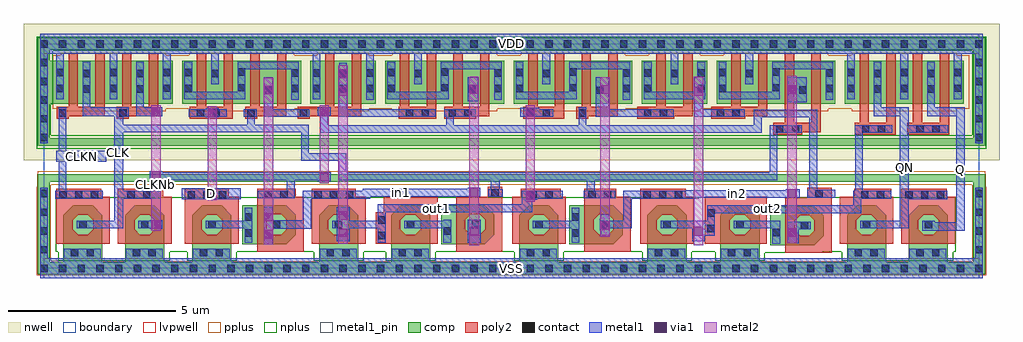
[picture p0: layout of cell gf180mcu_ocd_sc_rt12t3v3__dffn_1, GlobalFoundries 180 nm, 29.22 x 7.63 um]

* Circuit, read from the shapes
.subckt gf180mcu_ocd_sc_rt12t3v3__dffn_1 CLK CLKN CLKNb D Q QN VDD VSS in1 in2 out1 out2
XM1 CLK CLKN VSS VSS nfet_03v3 w=1.785u l=0.5338u
XM2 CLKNb CLK VSS VSS nfet_03v3 w=1.785u l=0.5341u
XM3 n1 D VSS VSS nfet_03v3 w=1.785u l=0.534u
XM4 in1 CLKNb n1 VSS nfet_03v3 w=1.785u l=0.5324u
XM5 out1 in1 VSS VSS nfet_03v3 w=1.785u l=0.5329u
XM6 n2 out1 VSS VSS nfet_03v3 w=1.785u l=0.5305u
XM7 in1 CLK n2 VSS nfet_03v3 w=1.785u l=0.5297u
XM8 n3 out1 VSS VSS nfet_03v3 w=1.785u l=0.5371u
XM9 in2 CLK n3 VSS nfet_03v3 w=1.785u l=0.5341u
XM10 out2 in2 VSS VSS nfet_03v3 w=1.785u l=0.5331u
XM11 n4 out2 VSS VSS nfet_03v3 w=1.785u l=0.5301u
XM12 in2 CLKNb n4 VSS nfet_03v3 w=1.785u l=0.5335u
XM13 QN out2 VSS VSS nfet_03v3 w=1.785u l=0.5348u
XM14 Q QN VSS VSS nfet_03v3 w=1.785u l=0.532u
XM15 CLK CLKN VDD VDD pfet_03v3 w=1.285u l=0.28u m=2
XM16 CLKNb CLK VDD VDD pfet_03v3 w=1.285u l=0.28u m=2
XM17 VDD D n5 VDD pfet_03v3 w=1.285u l=0.28u m=2
XM18 in1 CLK n5 VDD pfet_03v3 w=1.285u l=0.28u m=2
XM19 out1 in1 VDD VDD pfet_03v3 w=1.285u l=0.28u m=2
XM20 VDD out1 n6 VDD pfet_03v3 w=1.285u l=0.28u m=2
XM21 in1 CLKNb n6 VDD pfet_03v3 w=1.285u l=0.28u m=2
XM22 VDD out1 n7 VDD pfet_03v3 w=1.285u l=0.28u m=2
XM23 in2 CLKNb n7 VDD pfet_03v3 w=1.285u l=0.28u m=2
XM24 VDD in2 out2 VDD pfet_03v3 w=1.285u l=0.28u m=2
XM25 VDD out2 n8 VDD pfet_03v3 w=1.285u l=0.28u m=2
XM26 in2 CLK n8 VDD pfet_03v3 w=1.285u l=0.28u m=2
XM27 QN out2 VDD VDD pfet_03v3 w=1.285u l=0.28u m=2
XM28 Q QN VDD VDD pfet_03v3 w=1.285u l=0.28u m=2
.ends

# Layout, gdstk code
import gdstk
lib = gdstk.Library(unit=1e-6, precision=1e-09)
def R(c, l, rs):  # rectangles x0, y0, x1, y1
    for r in rs: c.add(gdstk.rectangle(r[:2], r[2:], *l))
def A(c, l, x, y, w, h, nx, ny, dx, dy):  # array of equal rectangles
    R(c, l, [(x+i*dx, y+j*dy, x+i*dx+w, y+j*dy+h) for i in range(nx) for j in range(ny)])
def P(c, l, *ps):  # polygons
    for p in ps: c.add(gdstk.Polygon(p, *l))
boundary = (0, 0)
nwell = (21, 0)
comp = (22, 0)
poly2 = (30, 0)
pplus = (31, 0)
nplus = (32, 0)
contact = (33, 0)
metal1 = (34, 0)
metal1_pin = (34, 10)
via1 = (35, 0)
metal2 = (36, 0)
lvpwell = (204, 0)

gf180mcu_ocd_sc_rt12t3v3 = lib.new_cell('gf180mcu_ocd_sc_rt12t3v3__dffn_1')
R(gf180mcu_ocd_sc_rt12t3v3, boundary, [(0,0,28,6.72)])
R(gf180mcu_ocd_sc_rt12t3v3, nwell, [(-0.61,3.245,28.61,7.33)])
R(gf180mcu_ocd_sc_rt12t3v3, comp, [(-0.18,-0.18,28.18,0.18), (-0.18,0.18,0.18,2.595), (0.585,0.18,1.755,1.595), (2.435,0.18,3.605,1.595), (4.445,0.18,5.615,1.595), (8.24,0.18,9.41,1.595), (10.395,0.18,11.565,1.595), (14.235,0.18,15.405,1.595), (18.07,0.18,19.24,1.595), (20.255,0.18,21.425,1.595), (24.045,0.18,25.215,1.595), (25.895,0.18,27.065,1.595), (27.82,0.18,28.18,2.595), (21.745,0.695,23.06,0.985), (5.945,0.725,7.25,1.015), (11.895,0.725,13.2,1.015), (15.735,0.725,17.04,1.015), (21.745,0.985,23.35,1.575), (5.945,1.015,7.54,1.605), (11.895,1.015,13.49,1.605), (15.735,1.015,17.33,1.605), (21.745,1.575,23.06,1.865), (0.875,1.595,1.465,1.885), (2.725,1.595,3.315,1.885), (4.735,1.595,5.325,1.885), (8.53,1.595,9.175,1.83), (10.63,1.595,11.275,1.83), (14.525,1.595,15.115,1.885), (18.36,1.595,19.005,1.83), (20.49,1.595,21.135,1.83), (24.315,1.595,24.925,1.865), (26.185,1.595,26.775,1.885), (5.945,1.605,7.25,1.895), (11.895,1.605,13.2,1.895), (15.735,1.605,17.04,1.895), (8.53,1.83,9.12,1.885), (10.685,1.83,11.275,1.885), (18.36,1.83,18.95,1.885), (20.545,1.83,21.135,1.885), (24.335,1.865,24.925,1.885), (-0.18,2.595,28.18,2.815), (-0.18,3.675,28.18,3.895), (-0.18,3.895,0.18,4.935), (27.82,3.895,28.18,6.54), (-0.18,4.935,3.86,6.22), (4.14,4.935,7.7,6.22), (7.98,4.935,9.94,6.22), (10.22,4.935,13.78,6.22), (14.06,4.935,17.62,6.22), (17.9,4.935,19.86,6.22), (20.14,4.935,23.7,6.22), (23.98,4.935,27.54,6.22), (-0.18,6.22,0.18,6.54), (-0.18,6.54,28.18,6.9)])
P(gf180mcu_ocd_sc_rt12t3v3, comp, [(0.585,1.595),(0.875,1.595),(0.875,1.885)],
  [(1.465,1.885),(1.465,1.595),(1.755,1.595)],
  [(2.435,1.595),(2.725,1.595),(2.725,1.885)],
  [(3.315,1.885),(3.315,1.595),(3.605,1.595)],
  [(4.445,1.595),(4.735,1.595),(4.735,1.885)],
  [(5.325,1.885),(5.325,1.595),(5.615,1.595)],
  [(7.25,1.895),(7.25,1.605),(7.54,1.605)],
  [(7.25,0.725),(7.25,1.015),(7.54,1.015)],
  [(8.24,1.595),(8.53,1.595),(8.53,1.885)],
  [(9.12,1.885),(9.12,1.83),(9.175,1.83)],
  [(10.63,1.83),(10.685,1.83),(10.685,1.885)],
  [(9.175,1.83),(9.175,1.595),(9.41,1.595)],
  [(10.395,1.595),(10.63,1.595),(10.63,1.83)],
  [(11.275,1.885),(11.275,1.595),(11.565,1.595)],
  [(13.2,1.895),(13.2,1.605),(13.49,1.605)],
  [(13.2,0.725),(13.2,1.015),(13.49,1.015)],
  [(14.235,1.595),(14.525,1.595),(14.525,1.885)],
  [(15.115,1.885),(15.115,1.595),(15.405,1.595)],
  [(17.04,1.895),(17.04,1.605),(17.33,1.605)],
  [(17.04,0.725),(17.04,1.015),(17.33,1.015)],
  [(18.07,1.595),(18.36,1.595),(18.36,1.885)],
  [(18.95,1.885),(18.95,1.83),(19.005,1.83)],
  [(20.49,1.83),(20.545,1.83),(20.545,1.885)],
  [(19.005,1.83),(19.005,1.595),(19.24,1.595)],
  [(20.255,1.595),(20.49,1.595),(20.49,1.83)],
  [(21.135,1.885),(21.135,1.595),(21.425,1.595)],
  [(24.315,1.865),(24.335,1.865),(24.335,1.885)],
  [(23.06,1.865),(23.06,1.575),(23.35,1.575)],
  [(23.06,0.695),(23.06,0.985),(23.35,0.985)],
  [(24.045,1.595),(24.315,1.595),(24.315,1.865)],
  [(24.925,1.885),(24.925,1.595),(25.215,1.595)],
  [(25.895,1.595),(26.185,1.595),(26.185,1.885)],
  [(26.775,1.885),(26.775,1.595),(27.065,1.595)])
A(gf180mcu_ocd_sc_rt12t3v3, poly2, 24.42, 4.355, 0.28, 2.085, 4, 1, 0.8, 0)
A(gf180mcu_ocd_sc_rt12t3v3, poly2, 0.74, 4.835, 0.28, 1.605, 4, 1, 0.8, 0)
A(gf180mcu_ocd_sc_rt12t3v3, poly2, 4.58, 4.835, 0.28, 1.605, 4, 1, 0.8, 0)
A(gf180mcu_ocd_sc_rt12t3v3, poly2, 10.66, 4.835, 0.28, 1.605, 4, 1, 0.8, 0)
A(gf180mcu_ocd_sc_rt12t3v3, poly2, 14.5, 4.835, 0.28, 1.605, 4, 1, 0.8, 0)
R(gf180mcu_ocd_sc_rt12t3v3, poly2, [(22.2,0.475,23.585,0.975), (6.39,0.505,7.775,1.005), (12.34,0.505,13.725,1.005), (16.18,0.505,17.565,1.005), (0.365,0.735,1.975,1.015), (2.215,0.735,3.825,1.015), (4.225,0.735,5.835,1.015), (8.02,0.735,9.63,1.015), (9.935,0.735,11.785,1.015), (14.015,0.735,15.625,1.015), (17.85,0.735,19.46,1.015), (19.79,0.735,21.645,1.015), (23.825,0.735,25.435,1.015), (25.675,0.735,27.285,1.015), (22.2,0.975,22.48,1.585), (23.06,0.975,23.585,1.125), (6.39,1.005,6.67,1.615), (7.25,1.005,7.775,1.155), (12.34,1.005,12.62,1.615), (13.2,1.005,13.725,1.155), (16.18,1.005,16.46,1.615), (17.04,1.005,17.565,1.155), (0.365,1.015,0.865,1.595), (1.475,1.015,1.975,1.595), (2.215,1.015,2.715,1.595), (3.325,1.015,3.825,1.595), (4.225,1.015,4.725,1.595), (5.335,1.015,5.835,1.595), (8.02,1.015,8.52,1.595), (9.13,1.015,9.63,1.595), (9.935,1.015,10.675,1.595), (11.285,1.015,11.785,1.595), (14.015,1.015,14.515,1.595), (15.125,1.015,15.625,1.595), (17.85,1.015,18.35,1.595), (18.96,1.015,19.46,1.595), (19.79,1.015,20.535,1.595), (21.145,1.015,21.645,1.595), (23.825,1.015,24.325,1.595), (24.935,1.015,25.435,1.595), (25.675,1.015,26.175,1.595), (26.785,1.015,27.285,1.595), (23.07,1.125,23.585,1.435), (7.26,1.155,7.775,1.465), (13.21,1.155,13.725,1.465), (17.05,1.155,17.565,1.465), (23.06,1.435,23.585,1.585), (7.25,1.465,7.775,1.615), (13.2,1.465,13.725,1.615), (17.04,1.465,17.565,1.615), (22.2,1.585,23.585,2.115), (0.365,1.595,1.015,1.605), (1.325,1.595,1.975,1.605), (2.215,1.595,2.865,1.605), (3.175,1.595,3.825,1.605), (4.225,1.595,4.875,1.605), (5.185,1.595,5.835,1.605), (8.02,1.595,8.67,1.605), (8.98,1.595,9.63,1.605), (9.935,1.595,10.825,1.605), (11.135,1.595,11.785,1.605), (14.015,1.595,14.665,1.605), (14.975,1.595,15.625,1.605), (17.85,1.595,18.5,1.605), (18.81,1.595,19.46,1.605), (19.79,1.595,20.685,1.605), (20.995,1.595,21.645,1.605), (23.825,1.595,24.475,1.605), (24.785,1.595,25.435,1.605), (25.675,1.595,26.325,1.605), (26.635,1.595,27.285,1.605), (0.365,1.605,1.975,2.14), (2.215,1.605,3.825,2.14), (4.225,1.605,5.835,2.14), (8.02,1.605,9.63,2.14), (9.935,1.605,11.785,1.675), (14.015,1.605,15.625,2.14), (17.85,1.605,19.46,2.14), (19.79,1.605,21.645,2.14), (23.825,1.605,25.435,2.14), (25.675,1.605,27.285,2.14), (6.39,1.615,7.775,2.15), (12.34,1.615,13.725,2.15), (16.18,1.615,17.565,2.15), (10.175,1.675,11.785,2.14), (22.86,2.115,23.585,2.415), (0.365,2.14,1.725,2.385), (2.215,2.14,3.575,2.385), (4.225,2.14,5.535,2.385), (8.02,2.14,9.33,2.385), (14.27,2.14,15.475,2.385), (17.85,2.14,19.21,2.385), (24.255,2.14,25.365,2.385), (25.675,2.14,27.035,2.385), (6.39,2.15,7.545,2.39), (13.285,2.15,13.725,2.445), (16.18,2.15,17.135,2.39), (21.83,3.995,22.7,4.075), (24.27,3.995,25.5,4.355), (25.85,3.995,27.1,4.355), (21.83,4.075,23.26,4.355), (22.18,4.355,22.46,6.44), (22.98,4.355,23.26,6.44), (0.38,4.475,0.74,4.555), (2.185,4.475,2.545,4.555), (4.365,4.475,5.66,4.835), (6.025,4.475,6.385,4.555), (7.595,4.475,7.955,4.555), (10.63,4.475,11.74,4.835), (11.98,4.475,12.94,4.555), (14.355,4.475,15.58,4.835), (15.945,4.475,16.305,4.555), (17.76,4.475,18.87,4.555), (19.985,4.475,20.995,4.555), (0.38,4.555,1.82,4.835), (2.185,4.555,3.42,4.835), (6.025,4.555,7.26,4.835), (7.595,4.555,9.5,4.835), (11.98,4.555,13.34,4.835), (15.945,4.555,17.18,4.835), (17.76,4.555,19.42,4.835), (19.985,4.555,21.66,4.835), (8.42,4.835,8.7,6.44), (9.22,4.835,9.5,6.44), (18.34,4.835,18.62,6.44), (19.14,4.835,19.42,6.44), (20.58,4.835,20.86,6.44), (21.38,4.835,21.66,6.44)])
P(gf180mcu_ocd_sc_rt12t3v3, poly2, [(1.015,1.595),(1.015,1.605),(1.025,1.605)],
  [(1.315,1.605),(1.325,1.605),(1.325,1.595)],
  [(0.865,1.445),(0.865,1.595),(1.015,1.595)],
  [(1.325,1.595),(1.475,1.595),(1.475,1.445)],
  [(0.865,1.175),(0.865,1.015),(1.025,1.015)],
  [(1.315,1.015),(1.475,1.015),(1.475,1.175)],
  [(2.865,1.595),(2.865,1.605),(2.875,1.605)],
  [(3.165,1.605),(3.175,1.605),(3.175,1.595)],
  [(2.715,1.445),(2.715,1.595),(2.865,1.595)],
  [(3.175,1.595),(3.325,1.595),(3.325,1.445)],
  [(2.715,1.175),(2.715,1.015),(2.875,1.015)],
  [(3.165,1.015),(3.325,1.015),(3.325,1.175)],
  [(4.875,1.595),(4.875,1.605),(4.885,1.605)],
  [(5.175,1.605),(5.185,1.605),(5.185,1.595)],
  [(4.725,1.445),(4.725,1.595),(4.875,1.595)],
  [(5.185,1.595),(5.335,1.595),(5.335,1.445)],
  [(4.725,1.175),(4.725,1.015),(4.885,1.015)],
  [(5.175,1.015),(5.335,1.015),(5.335,1.175)],
  [(6.67,1.455),(6.67,1.615),(6.83,1.615)],
  [(7.1,1.615),(7.25,1.615),(7.25,1.465)],
  [(7.25,1.465),(7.26,1.465),(7.26,1.455)],
  [(6.67,1.165),(6.67,1.005),(6.83,1.005)],
  [(7.25,1.155),(7.26,1.155),(7.26,1.165)],
  [(7.1,1.005),(7.25,1.005),(7.25,1.155)],
  [(8.67,1.595),(8.67,1.605),(8.68,1.605)],
  [(8.97,1.605),(8.98,1.605),(8.98,1.595)],
  [(8.52,1.445),(8.52,1.595),(8.67,1.595)],
  [(8.98,1.595),(9.13,1.595),(9.13,1.445)],
  [(8.52,1.175),(8.52,1.015),(8.68,1.015)],
  [(8.97,1.015),(9.13,1.015),(9.13,1.175)],
  [(10.825,1.595),(10.825,1.605),(10.835,1.605)],
  [(11.125,1.605),(11.135,1.605),(11.135,1.595)],
  [(10.675,1.445),(10.675,1.595),(10.825,1.595)],
  [(11.135,1.595),(11.285,1.595),(11.285,1.445)],
  [(10.675,1.175),(10.675,1.015),(10.835,1.015)],
  [(11.125,1.015),(11.285,1.015),(11.285,1.175)],
  [(12.62,1.455),(12.62,1.615),(12.78,1.615)],
  [(13.05,1.615),(13.2,1.615),(13.2,1.465)],
  [(13.2,1.465),(13.21,1.465),(13.21,1.455)],
  [(12.62,1.165),(12.62,1.005),(12.78,1.005)],
  [(13.2,1.155),(13.21,1.155),(13.21,1.165)],
  [(13.05,1.005),(13.2,1.005),(13.2,1.155)],
  [(14.665,1.595),(14.665,1.605),(14.675,1.605)],
  [(14.965,1.605),(14.975,1.605),(14.975,1.595)],
  [(14.515,1.445),(14.515,1.595),(14.665,1.595)],
  [(14.975,1.595),(15.125,1.595),(15.125,1.445)],
  [(14.515,1.175),(14.515,1.015),(14.675,1.015)],
  [(14.965,1.015),(15.125,1.015),(15.125,1.175)],
  [(16.46,1.455),(16.46,1.615),(16.62,1.615)],
  [(16.89,1.615),(17.04,1.615),(17.04,1.465)],
  [(17.04,1.465),(17.05,1.465),(17.05,1.455)],
  [(16.46,1.165),(16.46,1.005),(16.62,1.005)],
  [(17.04,1.155),(17.05,1.155),(17.05,1.165)],
  [(16.89,1.005),(17.04,1.005),(17.04,1.155)],
  [(18.5,1.595),(18.5,1.605),(18.51,1.605)],
  [(18.8,1.605),(18.81,1.605),(18.81,1.595)],
  [(18.35,1.445),(18.35,1.595),(18.5,1.595)],
  [(18.81,1.595),(18.96,1.595),(18.96,1.445)],
  [(18.35,1.175),(18.35,1.015),(18.51,1.015)],
  [(18.8,1.015),(18.96,1.015),(18.96,1.175)],
  [(20.685,1.595),(20.685,1.605),(20.695,1.605)],
  [(20.985,1.605),(20.995,1.605),(20.995,1.595)],
  [(20.535,1.445),(20.535,1.595),(20.685,1.595)],
  [(20.995,1.595),(21.145,1.595),(21.145,1.445)],
  [(20.535,1.175),(20.535,1.015),(20.695,1.015)],
  [(20.985,1.015),(21.145,1.015),(21.145,1.175)],
  [(22.48,1.425),(22.48,1.585),(22.64,1.585)],
  [(22.91,1.585),(23.06,1.585),(23.06,1.435)],
  [(23.06,1.435),(23.07,1.435),(23.07,1.425)],
  [(22.48,1.135),(22.48,0.975),(22.64,0.975)],
  [(23.06,1.125),(23.07,1.125),(23.07,1.135)],
  [(22.91,0.975),(23.06,0.975),(23.06,1.125)],
  [(24.475,1.595),(24.475,1.605),(24.485,1.605)],
  [(24.775,1.605),(24.785,1.605),(24.785,1.595)],
  [(24.325,1.445),(24.325,1.595),(24.475,1.595)],
  [(24.785,1.595),(24.935,1.595),(24.935,1.445)],
  [(24.325,1.175),(24.325,1.015),(24.485,1.015)],
  [(24.775,1.015),(24.935,1.015),(24.935,1.175)],
  [(26.325,1.595),(26.325,1.605),(26.335,1.605)],
  [(26.625,1.605),(26.635,1.605),(26.635,1.595)],
  [(26.175,1.445),(26.175,1.595),(26.325,1.595)],
  [(26.635,1.595),(26.785,1.595),(26.785,1.445)],
  [(26.175,1.175),(26.175,1.015),(26.335,1.015)],
  [(26.625,1.015),(26.785,1.015),(26.785,1.175)])
R(gf180mcu_ocd_sc_rt12t3v3, pplus, [(-0.21,-0.21,28.21,0.21), (-0.21,0.21,1.775,0.235), (2.415,0.21,3.625,0.235), (4.425,0.21,5.635,0.235), (8.22,0.21,9.43,0.235), (10.375,0.21,11.585,0.235), (14.215,0.21,15.425,0.235), (18.05,0.21,19.26,0.235), (20.235,0.21,21.445,0.235), (24.025,0.21,25.235,0.235), (25.875,0.21,27.085,0.235), (27.79,0.21,28.21,2.45), (-0.21,0.235,0.21,2.45), (-0.2,2.45,0.21,2.505), (27.79,2.45,28.2,2.505), (-0.2,2.505,28.2,2.835), (-0.18,2.835,28.18,2.905), (0.51,4.705,3.65,4.775), (4.35,4.705,7.49,4.775), (8.19,4.705,9.73,4.775), (10.43,4.705,13.57,4.775), (14.27,4.705,17.41,4.775), (18.11,4.705,19.65,4.775), (20.35,4.705,23.49,4.775), (24.19,4.705,27.33,4.775), (0.27,4.775,27.7,6.38), (0.51,6.38,3.65,6.45), (4.35,6.38,7.49,6.45), (8.19,6.38,9.73,6.45), (10.43,6.38,13.57,6.45), (14.27,6.38,17.41,6.45), (18.11,6.38,19.65,6.45), (20.35,6.38,23.49,6.45), (24.19,6.38,27.33,6.45)])
R(gf180mcu_ocd_sc_rt12t3v3, nplus, [(0.425,0.235,3.765,0.505), (4.285,0.235,5.775,0.495), (8.08,0.235,9.57,0.505), (10.235,0.235,11.725,0.495), (14.075,0.235,15.565,0.495), (17.91,0.235,19.4,0.505), (20.095,0.235,21.585,0.465), (23.885,0.235,27.225,0.505), (20.095,0.465,23.29,0.505), (4.285,0.495,7.48,0.505), (10.235,0.495,13.43,0.505), (14.075,0.495,17.27,0.505), (0.355,0.505,27.295,2.125), (-0.21,3.585,28.21,3.985), (-0.21,3.985,0.21,4.915), (27.79,3.985,28.21,6.51), (-0.21,4.915,0.27,6.51), (-0.21,6.51,28.21,6.93)])
P(gf180mcu_ocd_sc_rt12t3v3, nplus, [(7.48,0.495),(7.48,0.505),(7.49,0.505)],
  [(13.43,0.495),(13.43,0.505),(13.44,0.505)],
  [(17.27,0.495),(17.27,0.505),(17.28,0.505)],
  [(23.29,0.465),(23.29,0.505),(23.33,0.505)])
A(gf180mcu_ocd_sc_rt12t3v3, contact, -0.11, -0.11, 0.22, 0.22, 51, 2, 0.56, 6.72)
A(gf180mcu_ocd_sc_rt12t3v3, contact, -0.11, 0.45, 0.22, 0.22, 1, 4, 0, 0.56)
A(gf180mcu_ocd_sc_rt12t3v3, contact, 27.89, 0.45, 0.22, 0.22, 1, 4, 0, 0.56)
A(gf180mcu_ocd_sc_rt12t3v3, contact, 0.465, 2.095, 0.22, 0.22, 3, 1, 0.47, 0)
A(gf180mcu_ocd_sc_rt12t3v3, contact, 4.3, 2.095, 0.22, 0.22, 3, 1, 0.47, 0)
A(gf180mcu_ocd_sc_rt12t3v3, contact, 8.095, 2.095, 0.22, 0.22, 3, 1, 0.47, 0)
A(gf180mcu_ocd_sc_rt12t3v3, contact, 17.95, 2.095, 0.22, 0.22, 3, 1, 0.47, 0)
A(gf180mcu_ocd_sc_rt12t3v3, contact, 25.79, 2.095, 0.22, 0.22, 3, 1, 0.47, 0)
A(gf180mcu_ocd_sc_rt12t3v3, contact, -0.11, 3.81, 0.22, 0.22, 1, 5, 0, 0.56)
A(gf180mcu_ocd_sc_rt12t3v3, contact, 27.89, 3.81, 0.22, 0.22, 1, 5, 0, 0.56)
A(gf180mcu_ocd_sc_rt12t3v3, contact, 8.05, 5.275, 0.22, 0.22, 3, 2, 0.8, 0.47)
A(gf180mcu_ocd_sc_rt12t3v3, contact, 11.09, 5.73, 0.22, 0.22, 3, 1, 3.84, 0)
R(gf180mcu_ocd_sc_rt12t3v3, contact, [(0.81,0.36,1.03,0.58), (1.28,0.36,1.5,0.58), (2.66,0.36,2.88,0.58), (3.13,0.36,3.35,0.58), (4.67,0.36,4.89,0.58), (5.14,0.36,5.36,0.58), (8.465,0.36,8.685,0.58), (8.935,0.36,9.155,0.58), (10.62,0.36,10.84,0.58), (11.09,0.36,11.31,0.58), (14.46,0.36,14.68,0.58), (14.93,0.36,15.15,0.58), (18.295,0.36,18.515,0.58), (18.765,0.36,18.985,0.58), (20.48,0.36,20.7,0.58), (20.95,0.36,21.17,0.58), (24.27,0.36,24.49,0.58), (24.74,0.36,24.96,0.58), (26.12,0.36,26.34,0.58), (26.59,0.36,26.81,0.58), (10.005,0.87,10.225,1.09), (6.015,0.955,6.235,1.175), (15.805,0.955,16.025,1.175), (21.815,0.965,22.035,1.185), (11.965,1.01,12.185,1.23), (19.865,1.08,20.085,1.3), (22.665,1.17,22.885,1.39), (1.06,1.2,1.28,1.42), (2.91,1.2,3.13,1.42), (4.92,1.2,5.14,1.42), (6.855,1.2,7.075,1.42), (8.715,1.2,8.935,1.42), (10.87,1.2,11.09,1.42), (12.805,1.2,13.025,1.42), (14.71,1.2,14.93,1.42), (16.645,1.2,16.865,1.42), (18.545,1.2,18.765,1.42), (20.73,1.2,20.95,1.42), (24.52,1.2,24.74,1.42), (26.37,1.2,26.59,1.42), (10.005,1.34,10.225,1.56), (6.015,1.425,6.235,1.645), (15.805,1.425,16.025,1.645), (19.865,1.55,20.085,1.77), (2.5,2.095,2.72,2.315), (2.97,2.095,3.19,2.315), (14.54,2.095,14.76,2.315), (15.01,2.095,15.23,2.315), (24.465,2.095,24.685,2.315), (24.935,2.095,25.155,2.315), (6.605,2.1,6.825,2.32), (7.075,2.1,7.295,2.32), (16.295,2.1,16.515,2.32), (16.765,2.1,16.985,2.32), (23.095,2.125,23.315,2.345), (13.4,2.15,13.62,2.37), (21.92,4.065,22.14,4.285), (22.39,4.065,22.61,4.285), (24.495,4.065,24.715,4.285), (24.965,4.065,25.185,4.285), (26.125,4.065,26.345,4.285), (26.595,4.065,26.815,4.285), (0.45,4.545,0.67,4.765), (2.255,4.545,2.475,4.765), (4.58,4.545,4.8,4.765), (5.05,4.545,5.27,4.765), (6.095,4.545,6.315,4.765), (7.665,4.545,7.885,4.765), (10.84,4.545,11.06,4.765), (11.31,4.545,11.53,4.765), (12.115,4.545,12.335,4.765), (12.585,4.545,12.805,4.765), (14.46,4.545,14.68,4.765), (14.93,4.545,15.15,4.765), (16.015,4.545,16.235,4.765), (17.97,4.545,18.19,4.765), (18.44,4.545,18.66,4.765), (20.145,4.545,20.365,4.765), (20.615,4.545,20.835,4.765), (6.61,5.225,6.83,5.445), (16.53,5.225,16.75,5.445), (22.61,5.23,22.83,5.45), (1.17,5.26,1.39,5.48), (2.77,5.26,2.99,5.48), (24.85,5.26,25.07,5.48), (26.45,5.26,26.67,5.48), (12.69,5.265,12.91,5.485), (7.41,5.275,7.63,5.495), (13.49,5.275,13.71,5.495), (17.33,5.275,17.55,5.495), (17.97,5.275,18.19,5.495), (19.57,5.275,19.79,5.495), (23.41,5.275,23.63,5.495), (0.37,5.28,0.59,5.5), (1.97,5.28,2.19,5.5), (4.21,5.28,4.43,5.5), (10.29,5.28,10.51,5.5), (14.13,5.28,14.35,5.5), (20.21,5.28,20.43,5.5), (24.05,5.28,24.27,5.5), (25.65,5.28,25.87,5.5), (3.57,5.285,3.79,5.505), (27.25,5.285,27.47,5.505), (5.81,5.3,6.03,5.52), (11.89,5.3,12.11,5.52), (15.73,5.3,15.95,5.52), (21.81,5.3,22.03,5.52), (1.17,5.73,1.39,5.95), (2.77,5.73,2.99,5.95), (5.01,5.73,5.23,5.95), (21.01,5.73,21.23,5.95), (24.85,5.73,25.07,5.95), (26.45,5.73,26.67,5.95), (7.41,5.745,7.63,5.965), (13.49,5.745,13.71,5.965), (17.33,5.745,17.55,5.965), (17.97,5.745,18.19,5.965), (19.57,5.745,19.79,5.965), (23.41,5.745,23.63,5.965), (0.37,5.75,0.59,5.97), (1.97,5.75,2.19,5.97), (4.21,5.75,4.43,5.97), (10.29,5.75,10.51,5.97), (14.13,5.75,14.35,5.97), (20.21,5.75,20.43,5.97), (24.05,5.75,24.27,5.97), (25.65,5.75,25.87,5.97), (3.57,5.755,3.79,5.975), (27.25,5.755,27.47,5.975), (5.81,5.77,6.03,5.99), (11.89,5.77,12.11,5.99), (15.73,5.77,15.95,5.99), (21.81,5.77,22.03,5.99)])
A(gf180mcu_ocd_sc_rt12t3v3, metal1, 11.085, 5.52, 0.23, 0.9, 3, 1, 3.84, 0)
R(gf180mcu_ocd_sc_rt12t3v3, metal1, [(-0.115,-0.3,28.115,0.3), (-0.115,0.3,0.115,2.41), (0.6,0.3,1.71,0.585), (2.45,0.3,3.56,0.585), (4.46,0.3,5.57,0.585), (8.255,0.3,9.365,0.585), (10.41,0.3,11.52,0.585), (14.25,0.3,15.36,0.585), (18.085,0.3,19.195,0.585), (20.27,0.3,21.38,0.585), (24.06,0.3,25.17,0.585), (25.91,0.3,27.02,0.585), (27.885,0.3,28.115,2.41), (6.59,0.72,6.85,1.18), (21.81,0.74,22.04,1.195), (22.27,0.755,22.595,1.165), (6.01,0.77,6.24,1.195), (10,0.77,10.23,1.195), (11.96,0.77,12.19,1.195), (12.69,0.77,13.085,1.455), (15.8,0.77,16.03,1.195), (8.77,0.815,9.15,1.195), (19.41,0.815,19.79,0.98), (16.67,0.95,16.93,1.01), (19.41,0.98,20.09,1.195), (16.67,1.01,16.945,1.14), (26.29,1.12,27.57,1.38), (16.64,1.14,16.945,1.195), (22.27,1.165,22.965,1.395), (3.17,1.18,3.55,1.195), (6.59,1.18,8.01,1.44), (0.98,1.195,2.37,1.425), (2.83,1.195,3.55,1.425), (4.84,1.195,6.24,1.425), (8.635,1.195,10.23,1.425), (10.79,1.195,12.19,1.425), (14.63,1.195,16.03,1.425), (16.64,1.195,17.6,1.425), (18.465,1.195,20.09,1.425), (20.65,1.195,22.04,1.425), (24.44,1.195,25.89,1.425), (26.29,1.38,26.67,1.425), (27.31,1.38,27.57,4.56), (2.11,1.425,2.37,2.09), (3.17,1.425,3.55,1.44), (6.01,1.425,6.24,1.815), (8.77,1.425,9.15,1.83), (10,1.425,10.23,1.685), (11.96,1.425,12.19,1.455), (15.8,1.425,16.03,1.815), (16.64,1.425,16.945,1.48), (17.34,1.425,17.6,2.09), (19.86,1.425,20.09,1.655), (24.76,1.425,25.89,1.43), (25.63,1.43,25.89,2.075), (6.59,1.44,6.85,1.84), (7.75,1.44,8.01,2.09), (16.67,1.48,16.945,1.56), (16.67,1.56,16.93,1.62), (19.86,1.655,24.475,1.885), (10,1.685,14.62,1.915), (24.225,1.885,24.475,2.09), (14.3,1.915,14.62,1.995), (14.3,1.995,14.69,2.055), (14.3,2.055,14.775,2.09), (4.13,2.075,5.89,2.405), (25.63,2.075,27.05,2.32), (0.345,2.09,1.77,2.32), (2.11,2.09,3.495,2.32), (7.75,2.09,9.77,2.15), (14.3,2.09,15.535,2.32), (17.34,2.09,19.6,2.115), (24.225,2.09,25.37,2.32), (6.4,2.095,7.51,2.325), (16.165,2.095,17.1,2.325), (17.34,2.115,22.625,2.32), (22.86,2.12,23.695,2.35), (13.31,2.145,13.74,2.375), (7.75,2.15,13.07,2.32), (0.445,2.32,0.675,3.195), (2.11,2.32,2.37,2.555), (9.54,2.32,13.07,2.385), (19.2,2.32,22.625,2.345), (24.285,2.32,24.515,4.06), (25.63,2.32,25.89,4.06), (7.265,2.325,7.51,2.645), (16.255,2.325,16.49,2.645), (22.21,2.345,22.625,2.375), (22.92,2.35,23.15,4.52), (13.375,2.375,13.65,2.645), (12.69,2.385,13.07,2.415), (2.11,2.555,2.365,2.885), (8.2,2.61,8.585,2.645), (3.17,2.645,8.585,2.875), (8.825,2.645,21.96,2.875), (3.17,2.875,3.55,2.905), (8.825,2.875,9.055,3.225), (21.73,2.875,21.96,4.06), (2.11,2.885,2.37,4.07), (0.37,3.195,1.87,3.525), (7.705,3.225,9.055,3.455), (7.705,3.455,7.935,4.07), (0.445,3.525,0.675,4.825), (-0.115,3.745,0.115,6.42), (27.885,3.75,28.115,6.42), (8.27,4.06,21.485,4.29), (21.73,4.06,22.69,4.29), (24.28,4.06,25.4,4.29), (25.63,4.06,27.08,4.29), (2.11,4.07,7.935,4.3), (8.27,4.29,8.5,4.565), (12.045,4.29,12.275,4.54), (16.01,4.29,16.24,4.825), (21.255,4.29,21.485,4.52), (25.63,4.29,25.89,4.56), (2.11,4.3,2.37,4.54), (6.09,4.3,6.32,4.54), (21.255,4.52,23.15,4.75), (4.85,4.53,5.23,4.54), (2.11,4.54,2.535,4.56), (4.34,4.54,5.48,4.77), (5.985,4.54,6.375,4.77), (6.605,4.54,7.945,4.77), (8.835,4.54,11.735,4.77), (11.98,4.54,12.93,4.77), (14.255,4.54,15.245,4.77), (16.525,4.54,18.86,4.77), (19.47,4.54,20.985,4.77), (1.165,4.56,2.535,4.82), (2.765,4.56,3.55,4.82), (24.845,4.56,25.89,4.82), (26.445,4.56,27.57,4.82), (8.195,4.565,8.585,4.83), (4.85,4.77,5.23,4.79), (6.605,4.77,6.85,4.975), (8.835,4.77,9.065,5.065), (14.255,4.77,14.825,4.805), (16.525,4.77,16.93,5.72), (19.47,4.77,19.73,5.06), (1.165,4.82,1.395,6.18), (2.765,4.82,2.995,6.18), (24.845,4.82,25.075,6.18), (26.445,4.82,26.675,6.18), (6.59,4.975,6.85,5.73), (22.27,4.98,22.835,5.725), (12.685,5,13.01,5.73), (9.645,5.045,9.875,6.42), (7.405,5.055,7.635,5.96), (13.485,5.055,13.715,5.96), (17.325,5.055,17.555,5.96), (23.405,5.055,23.635,5.96), (0.365,5.06,0.595,6.42), (1.965,5.06,2.195,6.42), (4.205,5.06,6.035,5.29), (8.045,5.06,8.275,6.42), (10.285,5.06,12.115,5.29), (14.125,5.06,15.955,5.29), (17.965,5.06,19.73,5.065), (20.205,5.06,22.035,5.29), (24.045,5.06,24.275,6.42), (25.645,5.06,25.875,6.42), (3.565,5.065,3.795,6.42), (8.83,5.065,9.09,6.07), (17.965,5.065,19.795,5.29), (27.245,5.065,27.475,6.42), (4.205,5.29,4.435,6.19), (5.805,5.29,6.035,5.96), (10.285,5.29,10.515,6.19), (11.885,5.29,12.115,5.96), (14.125,5.29,14.355,6.19), (15.725,5.29,15.955,5.96), (17.965,5.29,18.195,6.18), (19.47,5.29,19.795,5.73), (20.205,5.29,20.435,6.19), (21.805,5.29,22.035,5.96), (5.005,5.52,5.235,6.42), (21.005,5.52,21.235,6.42), (16.525,5.72,16.765,5.73), (19.565,5.73,19.795,6.18), (5.805,5.96,7.635,6.19), (11.885,5.96,13.715,6.19), (15.725,5.96,17.555,6.19), (21.805,5.96,23.635,6.19), (8.845,6.07,9.075,6.16), (-0.115,6.42,28.115,7.02)])
R(gf180mcu_ocd_sc_rt12t3v3, metal1_pin, [(0,-0.3,28,0.3), (27.31,1.12,27.57,4.82), (25.63,1.195,25.89,4.82), (4.13,2.075,5.89,2.405), (0.37,3.195,1.87,3.525), (0,6.42,28,7.02)])
R(gf180mcu_ocd_sc_rt12t3v3, via1, [(6.59,0.89,6.85,1.15), (8.83,0.93,9.09,1.19), (22.27,0.945,22.53,1.205), (12.755,0.98,13.015,1.24), (19.47,0.985,19.73,1.245), (16.67,1.155,16.93,1.415), (3.23,1.18,3.49,1.44), (6.59,1.41,6.85,1.67), (8.83,1.45,9.09,1.71), (14.43,2.055,14.69,2.315), (4.91,2.105,5.17,2.365), (22.27,2.115,22.53,2.375), (12.75,2.15,13.01,2.41), (8.265,2.61,8.525,2.87), (3.23,2.645,3.49,2.905), (4.91,4.53,5.17,4.79), (14.43,4.54,14.69,4.8), (3.23,4.56,3.49,4.82), (8.265,4.565,8.525,4.825), (8.83,5.175,9.09,5.435), (19.47,5.175,19.73,5.435), (6.59,5.21,6.85,5.47), (22.27,5.22,22.53,5.48), (16.67,5.225,16.93,5.485), (12.75,5.235,13.01,5.495), (8.83,5.695,9.09,5.955)])
R(gf180mcu_ocd_sc_rt12t3v3, metal2, [(12.74,0.7,13.035,1.955), (19.455,0.7,19.74,1.005), (6.58,0.72,6.86,5.705), (8.82,0.745,9.1,6.075), (22.26,0.755,22.54,5.77), (16.66,0.95,16.94,5.72), (19.46,1.005,19.74,5.74), (3.22,1.12,3.5,4.88), (12.74,1.955,13.02,5.735), (14.42,1.995,14.7,4.88), (4.9,2.045,5.18,4.855), (8.255,2.545,8.535,4.89)])
R(gf180mcu_ocd_sc_rt12t3v3, lvpwell, [(-0.18,-0.18,28.18,2.815)])
gf180mcu_ocd_sc_rt12t3v3.add(gdstk.Label('out2', (21.655,1.785), layer=34, texttype=0))
gf180mcu_ocd_sc_rt12t3v3.add(gdstk.Label('out1', (11.755,1.795), layer=34, texttype=0))
gf180mcu_ocd_sc_rt12t3v3.add(gdstk.Label('in1', (10.72,2.265), layer=34, texttype=0))
gf180mcu_ocd_sc_rt12t3v3.add(gdstk.Label('in2', (20.775,2.25), layer=34, texttype=0))
gf180mcu_ocd_sc_rt12t3v3.add(gdstk.Label('CLK', (2.24,3.465), layer=34, texttype=0))
gf180mcu_ocd_sc_rt12t3v3.add(gdstk.Label('CLKNb', (3.35,2.505), layer=36, texttype=0))
gf180mcu_ocd_sc_rt12t3v3.add(gdstk.Label('D', (5.01,2.24), layer=34, texttype=10))
gf180mcu_ocd_sc_rt12t3v3.add(gdstk.Label('CLKN', (1.12,3.36), layer=34, texttype=10))
gf180mcu_ocd_sc_rt12t3v3.add(gdstk.Label('Q', (27.44,2.97), layer=34, texttype=10))
gf180mcu_ocd_sc_rt12t3v3.add(gdstk.Label('QN', (25.76,3.007), layer=34, texttype=10))
gf180mcu_ocd_sc_rt12t3v3.add(gdstk.Label('VDD', (14,6.72), layer=34, texttype=10))
gf180mcu_ocd_sc_rt12t3v3.add(gdstk.Label('VSS', (14,0), layer=34, texttype=10))

lib.write_gds('gf180mcu_ocd_sc_rt12t3v3__dffn_1.gds')
